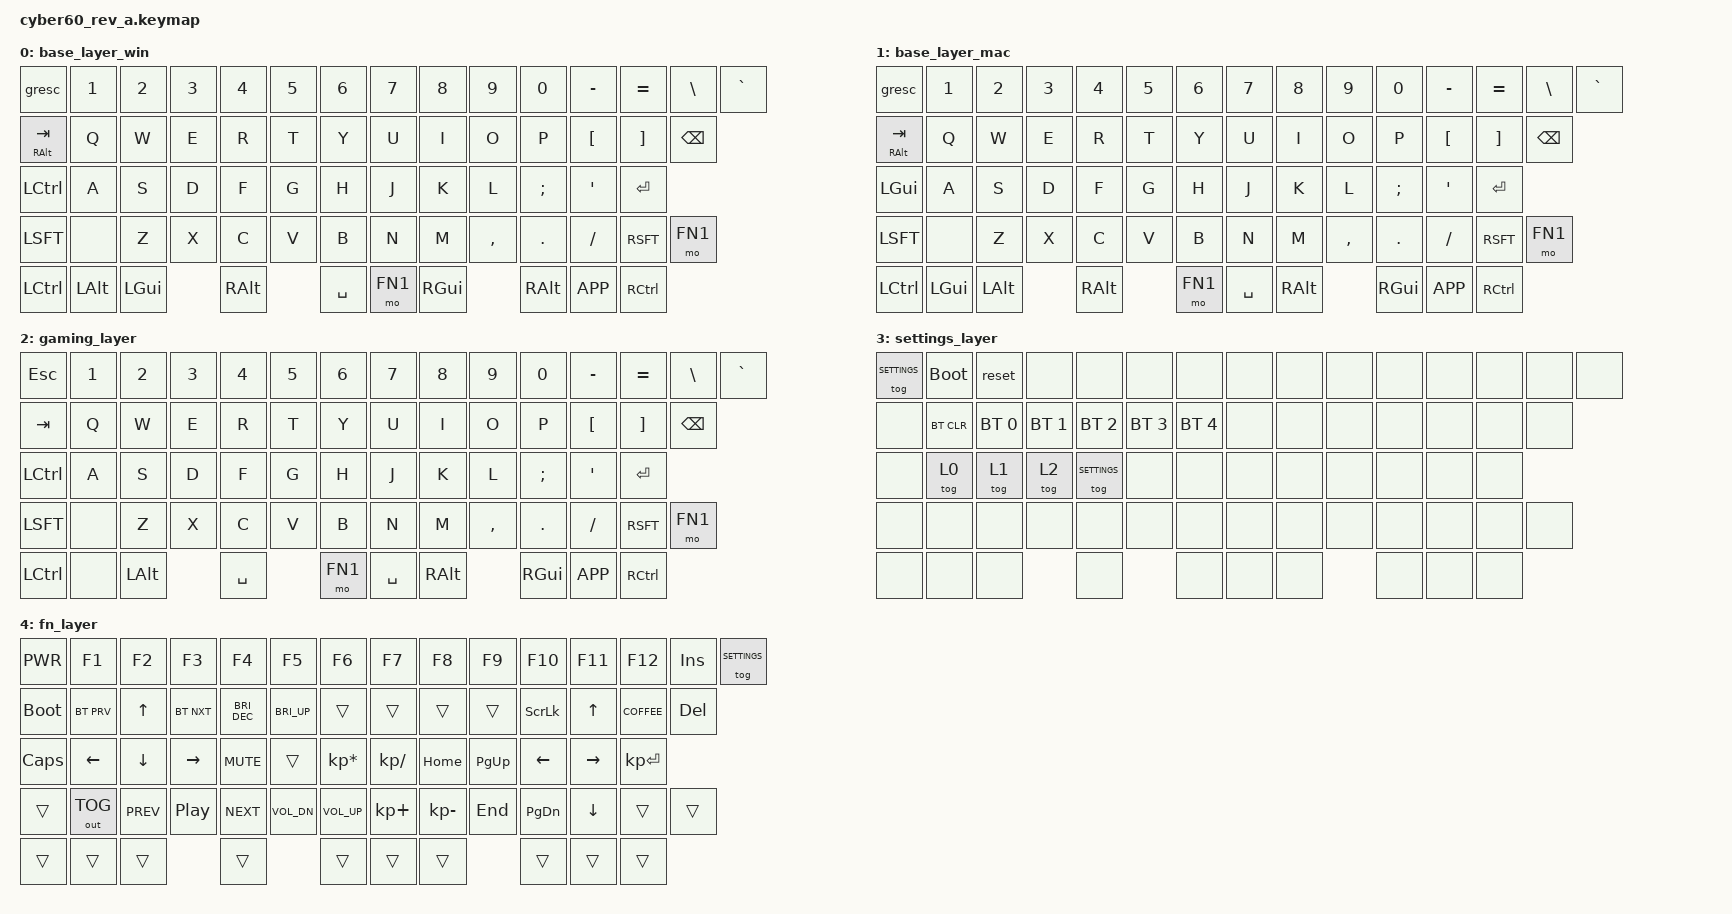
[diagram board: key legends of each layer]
#include <behaviors.dtsi>
#include <dt-bindings/zmk/keys.h>
#include <dt-bindings/zmk/bt.h>
#include <dt-bindings/zmk/outputs.h>


#define FN1 4
#define SETTINGS 3
/ {
	keymap {
		compatible = "zmk,keymap";
		base_layer_win {
// Base layer with ctrl at backspace position
// ------------------------------------------------------------------------------------------
// | ESC |  1  |  2  |  3  |  4  |  5  |  6  |  7  |  8  |  9  |  0  |  -  |  =  | "|" |  ~ |
// |RALT/TAB| Q |  W  |  E  |  R  |  T  |  Y  |  U  |  I  |  O  |  P  |  [  |  ]  |   BKSP  |
// | LCTL  |  A  |  S  |  D  |  F  |  G  |  H  |  J  |  K  |  L  |  ;  |  '  |     ENTER    |
// | SHIFT |none| Z |  X  |  C  |  V  |  B  |  N  |  M  |  ,  |  .  |  /  |    Shift   | FN |
// |  LCTL  |  LALT  |  LWIN  |  RALT  |     SPACE  |  FN   |  RWIN |  RALT | RMENU | RCTRL |
// ------------------------------------------------------------------------------------------
				bindings = <
	&gresc		 &kp NUM_1 	&kp NUM_2	&kp NUM_3 	&kp NUM_4 &kp NUM_5 &kp NUM_6 	&kp NUM_7 	&kp NUM_8 &kp NUM_9	&kp NUM_0	&kp MINUS	&kp EQL  	&kp BSLH	&kp GRAV
	&mt RALT TAB &kp   Q   	&kp   W   	&kp   E   	&kp   R   &kp   T   &kp   Y   	&kp   U   	&kp   I   &kp   O   &kp   P   	&kp LBKT 	&kp RBKT	&kp BKSP
	&kp LCTL 	 &kp   A   	&kp   S   	&kp   D   	&kp   F   &kp   G   &kp   H   	&kp   J   	&kp   K   &kp   L   &kp  SCLN  	&kp  QUOT   &kp RET
	&kp LSFT 	 &none		&kp   Z   	&kp   X   	&kp   C   &kp   V   &kp   B   	&kp   N   	&kp   M   &kp  CMMA &kp  DOT  	&kp  FSLH	&kp RSFT 	&mo FN1
	&kp LCTL 	 &kp LALT   &kp   LGUI				&kp RALT			&kp  SPC  	&mo FN1		&kp  RGUI			&kp  RALT 	&kp K_APP	&kp  RCTL		
			>;
		};
		base_layer_mac {
// Base layer with gui at backspace position
// ------------------------------------------------------------------------------------------
// | ESC |  1  |  2  |  3  |  4  |  5  |  6  |  7  |  8  |  9  |  0  |  -  |  =  | "|" |  ~ |
// |RALT/TAB| Q |  W  |  E  |  R  |  T  |  Y  |  U  |  I  |  O  |  P  |  [  |  ]  |   BKSP  |
// | LGUI  |  A  |  S  |  D  |  F  |  G  |  H  |  J  |  K  |  L  |  ;  |  '  |     ENTER    |
// | SHIFT |none| Z |  X  |  C  |  V  |  B  |  N  |  M  |  ,  |  .  |  /  |    Shift   | FN |
// |  LCTL  |  LWIN  |  LALT  |  RALT  | FN |     SPACE     |  RALT |  RWIN | RMENU | RCTRL |
// ------------------------------------------------------------------------------------------
			bindings = <
	&gresc		 &kp NUM_1 	&kp NUM_2	&kp NUM_3 	&kp NUM_4 &kp NUM_5 &kp NUM_6 	&kp NUM_7 	&kp NUM_8 &kp NUM_9	&kp NUM_0	&kp MINUS	&kp EQL  	&kp BSLH	&kp GRAV
	&mt RALT TAB &kp   Q   	&kp   W   	&kp   E   	&kp   R   &kp   T   &kp   Y   	&kp   U   	&kp   I   &kp   O   &kp   P   	&kp LBKT 	&kp RBKT	&kp BKSP
	&kp LGUI 	 &kp   A   	&kp   S   	&kp   D   	&kp   F   &kp   G   &kp   H   	&kp   J   	&kp   K   &kp   L   &kp  SCLN  	&kp  QUOT   &kp RET
	&kp LSFT 	 &none		&kp   Z   	&kp   X   	&kp   C   &kp   V   &kp   B   	&kp   N   	&kp   M   &kp  CMMA &kp  DOT  	&kp  FSLH	&kp RSFT 	&mo FN1
	&kp LCTL 	 &kp LGUI   &kp LALT				&kp RALT			&mo FN1		&kp  SPC  	&kp  RALT			&kp  RGUI 	&kp K_APP	&kp  RCTL		
			>;
		};
		gaming_layer {
// Gaming layer with regular space and no gui
// ------------------------------------------------------------------------------------------
// | ESC |  1  |  2  |  3  |  4  |  5  |  6  |  7  |  8  |  9  |  0  |  -  |  =  | "|" |  ~ |
// |  TAB |  Q  |  W  |  E  |  R  |  T  |  Y  |  U  |  I  |  O  |  P  |  [  |  ]  |   BKSP  |
// | LCTL  |  A  |  S  |  D  |  F  |  G  |  H  |  J  |  K  |  L  |  ;  |  '  |     ENTER    |
// | SHIFT |none| Z |  X  |  C  |  V  |  B  |  N  |  M  |  ,  |  .  |  /  |    Shift   | FN |
// |  LCTL  |  NONE  |  LALT  | SPACE  | FN |     SPACE     |  RALT |  RWIN | RMENU | RCTRL |
// ------------------------------------------------------------------------------------------	
				bindings = <
	&kp ESC		 &kp NUM_1 	&kp NUM_2	&kp NUM_3 	&kp NUM_4 &kp NUM_5 &kp NUM_6 	&kp NUM_7 	&kp NUM_8 &kp NUM_9	&kp NUM_0	&kp MINUS	&kp EQL  	&kp BSLH	&kp GRAV
	&kp TAB 	 &kp   Q   	&kp   W   	&kp   E   	&kp   R   &kp   T   &kp   Y   	&kp   U   	&kp   I   &kp   O   &kp   P   	&kp LBKT 	&kp RBKT	&kp BKSP
	&kp LCTL 	 &kp   A   	&kp   S   	&kp   D   	&kp   F   &kp   G   &kp   H   	&kp   J   	&kp   K   &kp   L   &kp  SCLN  	&kp  QUOT   &kp RET
	&kp LSFT 	 &none		&kp   Z   	&kp   X   	&kp   C   &kp   V   &kp   B   	&kp   N   	&kp   M   &kp  CMMA &kp  DOT  	&kp  FSLH	&kp RSFT 	&mo FN1
	&kp LCTL 	 &none   	&kp   LALT				&kp SPC		&mo FN1		&kp  SPC  	&kp  RALT			&kp  RGUI 	&kp K_APP	&kp  RCTL		
			>;
		};
		settings_layer {
// Settings layer to change keyboard behaviour
// ------------------------------------------------------------------------------------------
// | EXIT|BOOTL| RST | USB | BLE | NON | NON | NON | NON | NON | NON | NON | NON | NON |NON |
// | NON  |BTCLR| BT0 | BT1 | BT2 | BT3 | BT4 | NON | NON | NON | NON | NON | NON |   NON   |
// |  NON  | TOG0| TOG1| TOG2| TOG3| NON | NON | NON | NON | NON | NON | NON |     NON      |
// |  NON | NON |NON| NON | NON | NON | NON | NON | NON | NON | NON | NON |    NON    | NON |
// |   NON  |  NON   |  NON   |   NON  | NON |    NON       |  NON  |  NON  |  NON  |  NON  |
// ------------------------------------------------------------------------------------------	
				bindings = <
	&tog SETTINGS		&bootloader 	&reset			&none			&none	&none 	&none 	&none 	&none	&none	&none	&none	&none  	&none	&none
	&none 	&bt BT_CLR  &bt BT_SEL 0  	&bt BT_SEL 1   	&bt BT_SEL 2	&bt BT_SEL 3   	&bt BT_SEL 4   	&none	&none   &none   &none   &none 	&none	&none
	&none	&tog 0   	&tog 1   		&tog 2   		&tog SETTINGS   &none   		&none   		&none   &none   &none   &none  	&none   &none
	&none	&none		&none   		&none   		&none   		&none   		&none   		&none   &none   &none	&none  	&none	&none 	&none
	&none	&none    	&none							&none			&none			&none  			&none			&none 	&none	&none		
			>;
		};
		fn_layer {
// Function layer
// ------------------------------------------------------------------------------------------
// | BOOT |  F1 |  F2 |  F3 |  F4 |  F5 |  F6 |  F7 |  F8 |  F9 | F10 | F11 | F12 |INS | RST|
// | TAB  |BTPRV|  UP |BTNXT| TOG0| TOG1| TOG2| BT3 | BT4 | PRNT| SLCKL | UP  | LOCK |  DEL |
// | CAPS  |LEFT |DOWN |RIGHT|MUTE |  G  |  *  |  /  | HOME| PGUP| LEFT|RIGHT|    KP_ENTER  |
// | SHIFT |none|PRV|PLAYP|NEXT | VOLD| VOLU|  +  |  -  | END | PGDN| DOWN|    Shift   | FN |
// |  LCTL  |  LGUI  |  LWIN  |  RALT  | FN |     SPACE     |  RALT |  RWIN | RMENU | RCTRL |
// ------------------------------------------------------------------------------------------
			bindings = <
	&kp C_PWR 		&kp F1		&kp F2 	 		&kp F3			&kp F4			&kp F5			&kp F6			&kp F7			&kp F8			&kp F9			&kp F10		&kp F11		&kp F12			&kp INS	&tog SETTINGS
	&bootloader		&bt BT_PRV  &kp UP   		&bt BT_NXT		&kp C_BRI_DEC	&kp C_BRI_UP	&trans			&trans			&trans			&trans			&kp SLCK	&kp UP		&kp K_COFFEE	&kp DEL
	&kp CLCK 		&kp LEFT   	&kp DOWN		&kp RIGHT		&kp K_MUTE		&trans			&kp KP_ASTERISK	&kp KP_SLASH	&kp HOME		&kp PG_UP		&kp LEFT	&kp RIGHT	&kp KP_ENTER
	&trans 			&out OUT_TOG   	&kp C_PREV   	&kp C_PP	 	&kp C_NEXT 		&kp C_VOL_DN	&kp C_VOL_UP	&kp KP_PLUS		&kp KP_MINUS	&kp END			&kp PG_DN	&kp DOWN	&trans 		&trans
	&trans 			&trans   	&trans             				&trans			&trans			&trans  		&trans  		&trans			&trans			&trans		
			>;
		};
	};
};
